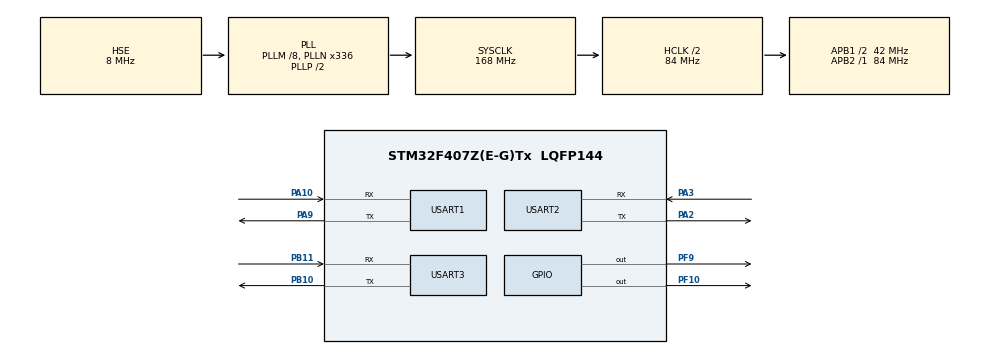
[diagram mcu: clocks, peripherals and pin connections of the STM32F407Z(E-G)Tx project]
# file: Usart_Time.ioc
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FREERTOS.BinarySemaphores01=myBinarySem01,Dynamic,NULL
FREERTOS.Tasks01=Task_usart,0,128,StartTask01,Default,NULL,Dynamic,NULL,NULL;Task_hc05,-3,128,StartTask02,Default,NULL,Dynamic,NULL,NULL;Task_led,-3,128,StartTask03,Default,NULL,Dynamic,NULL,NULL
Mcu.Family=STM32F4
Mcu.Name=STM32F407Z(E-G)Tx
Mcu.Package=LQFP144
NVIC.PriorityGroup=NVIC_PRIORITYGROUP_4
NVIC.TIM1_UP_TIM10_IRQn=true\:0\:0\:false\:false\:true\:false\:false\:true
NVIC.TimeBase=TIM1_UP_TIM10_IRQn
NVIC.TimeBaseIP=TIM1
NVIC.USART1_IRQn=true\:5\:0\:false\:false\:true\:true\:true\:true
NVIC.USART2_IRQn=true\:5\:0\:false\:false\:true\:true\:true\:true
NVIC.USART3_IRQn=true\:5\:0\:false\:false\:true\:true\:true\:true
PA10.Mode=Asynchronous
PA10.Signal=USART1_RX
PA2.Mode=Asynchronous
PA2.Signal=USART2_TX
PA3.Mode=Asynchronous
PA3.Signal=USART2_RX
PA9.Mode=Asynchronous
PA9.Signal=USART1_TX
PB10.Mode=Asynchronous
PB10.Signal=USART3_TX
PB11.Mode=Asynchronous
PB11.Signal=USART3_RX
PF10.Signal=GPIO_Output
PF9.Signal=GPIO_Output
PH0-OSC_IN.Mode=HSE-External-Oscillator
PH0-OSC_IN.Signal=RCC_OSC_IN
PH1-OSC_OUT.Mode=HSE-External-Oscillator
PH1-OSC_OUT.Signal=RCC_OSC_OUT
ProjectManager.HeapSize=0x200
ProjectManager.StackSize=0x400
ProjectManager.TargetToolchain=MDK-ARM V5.27
RCC.48MHZClocksFreq_Value=84000000
RCC.AHBCLKDivider=RCC_SYSCLK_DIV2
RCC.AHBFreq_Value=84000000
RCC.APB1CLKDivider=RCC_HCLK_DIV2
RCC.APB1Freq_Value=42000000
RCC.APB1TimFreq_Value=84000000
RCC.APB2Freq_Value=84000000
RCC.APB2TimFreq_Value=84000000
RCC.CortexFreq_Value=84000000
RCC.HCLKFreq_Value=84000000
RCC.HSE_VALUE=8000000
RCC.HSI_VALUE=16000000
RCC.LSE_VALUE=32768
RCC.PLLM=8
RCC.PLLN=336
RCC.PLLSourceVirtual=RCC_PLLSOURCE_HSE
RCC.SYSCLKFreq_VALUE=168000000
RCC.SYSCLKSource=RCC_SYSCLKSOURCE_PLLCLK
RCC.VCOOutputFreq_Value=336000000
USART1.VirtualMode=VM_ASYNC
USART2.VirtualMode=VM_ASYNC
USART3.VirtualMode=VM_ASYNC
VP_FREERTOS_VS_CMSIS_V1.Mode=CMSIS_V1
VP_RTC_VS_RTC_Activate.Mode=RTC_Enabled
VP_RTC_VS_RTC_Calendar.Mode=RTC_Calendar
VP_SYS_VS_tim1.Mode=TIM1
board=custom

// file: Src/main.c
/* USER CODE BEGIN Header */
/**
  ******************************************************************************
  * @file           : main.c
  * @brief          : Main program body
  ******************************************************************************
  * @attention
  *
  * <h2><center>&copy; Copyright (c) 2020 STMicroelectronics.
  * All rights reserved.</center></h2>
  *
  * This software component is licensed by ST under Ultimate Liberty license
  * SLA0044, the "License"; You may not use this file except in compliance with
  * the License. You may obtain a copy of the License at:
  *                             www.st.com/SLA0044
  *
  ******************************************************************************
  */
/* USER CODE END Header */

#include "main.h"
#include "cmsis_os.h"
#include "rtc.h"
#include "usart.h"
#include "gpio.h"
#include "string.h"
#include "cJSON.h"
/* USER CODE BEGIN Includes */
uint8_t my_re_buf[2000];
uint16_t pt=0;
uint8_t aRxBuffer2;			//接收中断缓冲2
char RST_Start[]="AT+RST\r\n";
char MODE_Start[]="AT+CWMODE=1\r\n";
char WIFI_Start[]="AT+CWJAP=\"HUAWEI-3AHFVD\",\"13550695909\"\r\n";
char Connected_Start[]="AT+CIPMUX=0\r\n";
char TCP_Start[]="AT+CIPSTART=\"TCP\",\"api.seniverse.com\",80\r\n";
char TX_Start[]="AT+CIPMODE=1\r\n";
char Data[]="AT+CIPSEND\r\n";
char TX_Data[]="GET https://api.seniverse.com/v3/weather/now.json?key=SG_ckZ26xPfp8E2EK&location=chengdu&language=zh-Hans&unit=c\r\n";
char Recive[5];
char Recive2[5];
char Commend2[]="page0.t4.txt=\"0\"";

#define RXBUFFERSIZE 256
char RxBuffer[RXBUFFERSIZE];
uint8_t aRxBuffer;			//接收中断缓冲
uint8_t Uart2_Rx_Cnt = 0;		//接收缓冲计数
extern osSemaphoreId myBinarySem01Handle;

cJSON *json;
cJSON *Array_obj1;
cJSON *Array_obj2;
cJSON *Array_obj3;
cJSON *Array_obj4;
cJSON *Array;
/* USER CODE END Includes */

void SystemClock_Config(void);
void MX_FREERTOS_Init(void);
/* USER CODE BEGIN PFP */
void HMISends(char *buf1)		  //字符串发送函数
{
	uint8_t i=0;
	while(1)
	{
	 if(buf1[i]!=0)
	 	{
			HAL_UART_Transmit(&huart3, (uint8_t *)&buf1[i], 1,0xFFFF); //将收到的信息发送出去
			while(HAL_UART_GetState(&huart3) == HAL_UART_STATE_BUSY_TX);//检测UART发送结束
			i++;
		}
	 else
	 return ;

		}
}

void HMISendb(uint8_t k)		         //字节发送函数
{
	uint8_t i;
	 for(i=0;i<3;i++)
	 {
	 if(k!=0)
	 	{
			HAL_UART_Transmit(&huart3, (uint8_t *)&k, 1,0xFFFF); //将收到的信息发送出去
			while(HAL_UART_GetState(&huart3) == HAL_UART_STATE_BUSY_TX);//检测UART发送结束
		}
	 else
	 return ;

	 }
}

void HMISendstart(void)
{
	 	HAL_Delay(200);
		HMISendb(0xff);
		HAL_Delay(200);
}

void command(char Command_AT[])
{
	int Lenth=strlen(Command_AT);
	HAL_UART_Transmit(&huart2,(uint8_t*)Command_AT,Lenth,0xff);
	printf("%s",Command_AT);
	HAL_Delay(3500);
}

void FreeRTOS_command(char Command_AT[])
{
	int Lenth=strlen(Command_AT);
	HAL_UART_Transmit(&huart2,(uint8_t*)Command_AT,Lenth,0xff);
	printf("%s",Command_AT);
	osDelay(3500);
}

void FreeROTS_ESP8266_Init(void)
{
	FreeRTOS_command(MODE_Start);
	FreeRTOS_command(RST_Start);
	FreeRTOS_command(WIFI_Start);
	FreeRTOS_command(Connected_Start);
	FreeRTOS_command(TCP_Start);
	FreeRTOS_command(TX_Start);
	FreeRTOS_command(Data);
}

void ESP8266_Init(void)
{
	command(MODE_Start);
	command(RST_Start);
	command(WIFI_Start);
	command(Connected_Start);
	command(TCP_Start);
	command(TX_Start);
	command(Data);
}
/* USER CODE END PFP */

int main(void)
{

  /* MCU Configuration--------------------------------------------------------*/

  /* Reset of all peripherals, Initializes the Flash interface and the Systick. */
  HAL_Init();

  /* Configure the system clock */
  SystemClock_Config();

  /* Initialize all configured peripherals */
  MX_GPIO_Init();
  MX_RTC_Init();
  MX_USART1_UART_Init();
  MX_USART2_UART_Init();
  MX_USART3_UART_Init();
  /* USER CODE BEGIN 2 */
	HAL_UART_Receive_IT(&huart3, (uint8_t *)&aRxBuffer, 1);
	HMISendstart();
	HMISends("page0.t0.txt=\"00：00：00\"");
	HMISendb(0xff);

	ESP8266_Init();

	HAL_UART_Receive_IT(&huart2, (uint8_t *)&aRxBuffer2, 1);
	command(TX_Data);		//发送指令

	HAL_Delay(10000);

	json = cJSON_Parse((const char *) my_re_buf );
	Array_obj1=cJSON_GetObjectItem(json,"results");

	int size=cJSON_GetArraySize(Array_obj1);
	printf("\n%d",size);

	if(json == NULL)
    printf("\njson fmt error:%s\n.", cJSON_GetErrorPtr());
	else
	{
		Array=cJSON_GetArrayItem(Array_obj1,0);
		Array_obj2=cJSON_GetObjectItem(Array,"now");
		Array_obj3=cJSON_GetObjectItem(Array_obj2,"code");
		HAL_Delay(1000);
		Array_obj4=cJSON_GetObjectItem(Array_obj2,"temperature");
		printf("n\r%s\n\r",Array_obj3->valuestring);
		printf("n\r%s\n\r",Array_obj4->valuestring);
		strcpy(Recive,Array_obj3->valuestring);
		strcpy(Recive2,Array_obj4->valuestring);

		sprintf(Commend2,"page0.t4.txt=\"%s\"",Recive2);
		HMISends(Commend2);
		HMISendb(0xff);
		memset(Recive2,0x00,sizeof(Recive2)); //清空数组

		if(Recive[0]==1&&(Recive[1]=='3'||Recive[1]=='4'||Recive[1]=='5'))
		{
			printf("\n天气：雨\n");
			HMISends("page0.t1.txt=\"雨\"");
			HMISendb(0xff);
		}

		else if(Recive[0]=='0'||Recive[0]=='1')
		{
			printf("\n天气：晴\n");
			HMISends("page0.t1.txt=\"晴\"");
			HMISendb(0xff);
		}
		else if(Recive[0]=='4'||Recive[0]=='5'||Recive[0]=='6')
		{
			printf("\n天气：多云\n");
			HMISends("page0.t1.txt=\"多云\"");
			HMISendb(0xff);
		}
		else if(Recive[0]=='9')
		{
			printf("\n天气：阴\n");
			HMISends("page0.t1.txt=\"阴\"");
			HMISendb(0xff);
		}
		Recive[0]='x';
		Recive[1]='x';
	}
	memset(my_re_buf,0x00,sizeof(my_re_buf));
	pt=0;

	cJSON_free(my_re_buf);
	cJSON_Delete(json);

  /* USER CODE END 2 */
  /* Call init function for freertos objects (in freertos.c) */
  MX_FREERTOS_Init();
  /* Start scheduler */
  osKernelStart();

  /* We should never get here as control is now taken by the scheduler */
  /* Infinite loop */
  while (1)
  {

  }
}

void SystemClock_Config(void)
{
  RCC_OscInitTypeDef RCC_OscInitStruct = {0};
  RCC_ClkInitTypeDef RCC_ClkInitStruct = {0};
  RCC_PeriphCLKInitTypeDef PeriphClkInitStruct = {0};

  /** Configure the main internal regulator output voltage
  */
  __HAL_RCC_PWR_CLK_ENABLE();
  __HAL_PWR_VOLTAGESCALING_CONFIG(PWR_REGULATOR_VOLTAGE_SCALE1);
  /** Initializes the CPU, AHB and APB busses clocks
  */
  RCC_OscInitStruct.OscillatorType = RCC_OSCILLATORTYPE_LSI|RCC_OSCILLATORTYPE_HSE;
  RCC_OscInitStruct.HSEState = RCC_HSE_ON;
  RCC_OscInitStruct.LSIState = RCC_LSI_ON;
  RCC_OscInitStruct.PLL.PLLState = RCC_PLL_ON;
  RCC_OscInitStruct.PLL.PLLSource = RCC_PLLSOURCE_HSE;
  RCC_OscInitStruct.PLL.PLLM = 8;
  RCC_OscInitStruct.PLL.PLLN = 336;
  RCC_OscInitStruct.PLL.PLLP = RCC_PLLP_DIV2;
  RCC_OscInitStruct.PLL.PLLQ = 4;
  if (HAL_RCC_OscConfig(&RCC_OscInitStruct) != HAL_OK)
  {
    Error_Handler();
  }
  /** Initializes the CPU, AHB and APB busses clocks
  */
  RCC_ClkInitStruct.ClockType = RCC_CLOCKTYPE_HCLK|RCC_CLOCKTYPE_SYSCLK
                              |RCC_CLOCKTYPE_PCLK1|RCC_CLOCKTYPE_PCLK2;
  RCC_ClkInitStruct.SYSCLKSource = RCC_SYSCLKSOURCE_PLLCLK;
  RCC_ClkInitStruct.AHBCLKDivider = RCC_SYSCLK_DIV2;
  RCC_ClkInitStruct.APB1CLKDivider = RCC_HCLK_DIV2;
  RCC_ClkInitStruct.APB2CLKDivider = RCC_HCLK_DIV1;

  if (HAL_RCC_ClockConfig(&RCC_ClkInitStruct, FLASH_LATENCY_2) != HAL_OK)
  {
    Error_Handler();
  }
  PeriphClkInitStruct.PeriphClockSelection = RCC_PERIPHCLK_RTC;
  PeriphClkInitStruct.RTCClockSelection = RCC_RTCCLKSOURCE_LSI;
  if (HAL_RCCEx_PeriphCLKConfig(&PeriphClkInitStruct) != HAL_OK)
  {
    Error_Handler();
  }
}

/* USER CODE BEGIN 4 */
void HAL_UART_RxCpltCallback(UART_HandleTypeDef *huart)
{
	UNUSED(huart);

	if(huart==&huart2)
	{
		my_re_buf[pt++]=aRxBuffer2;

		HAL_UART_Receive_IT(&huart2, (uint8_t *)&aRxBuffer2, 1);
	}

	else if(huart==&huart3)
	{
		RxBuffer[Uart2_Rx_Cnt++] = aRxBuffer;
		if((RxBuffer[Uart2_Rx_Cnt-1] == 0x0A)&&(RxBuffer[Uart2_Rx_Cnt-2] == 0x0D)) //判断结束位
		{
			HAL_UART_Transmit(&huart1, (uint8_t *)&RxBuffer, Uart2_Rx_Cnt,0xFFFF); //将收到的信息发送出去
			while(HAL_UART_GetState(&huart1) == HAL_UART_STATE_BUSY_TX);//检测UART发送结束
			printf("您所收到的数据是：");
			osSemaphoreRelease(myBinarySem01Handle);
		}
		HAL_UART_Receive_IT(&huart3, (uint8_t *)&aRxBuffer, 1);   //再开启接收中断
	}
}
/* USER CODE END 4 */

 /**
  * @brief  Period elapsed callback in non blocking mode
  * @note   This function is called  when TIM1 interrupt took place, inside
  * HAL_TIM_IRQHandler(). It makes a direct call to HAL_IncTick() to increment
  * a global variable "uwTick" used as application time base.
  * @param  htim : TIM handle
  * @retval None
  */
void HAL_TIM_PeriodElapsedCallback(TIM_HandleTypeDef *htim)
{
  if (htim->Instance == TIM1) {
    HAL_IncTick();
  }
}

void Error_Handler(void)
{
}

/************************ (C) COPYRIGHT STMicroelectronics *****END OF FILE****/
